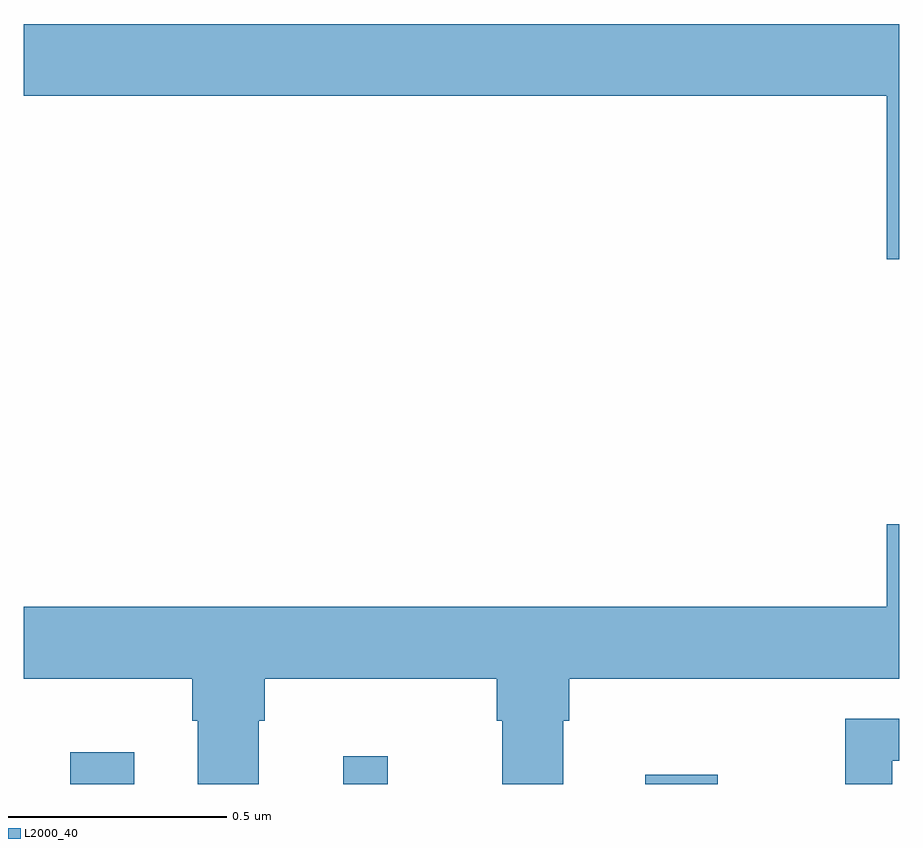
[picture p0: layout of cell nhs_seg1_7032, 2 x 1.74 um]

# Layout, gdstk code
import gdstk
lib = gdstk.Library(unit=1e-6, precision=1e-09)
def R(c, l, rs):  # rectangles x0, y0, x1, y1
    for r in rs: c.add(gdstk.rectangle(r[:2], r[2:], *l))
def P(c, l, *ps):  # polygons
    for p in ps: c.add(gdstk.Polygon(p, *l))
L2000_40 = (2000, 40)

nhs_seg1_7032 = lib.new_cell('nhs_seg1_7032')
R(nhs_seg1_7032, L2000_40, [(199.106,510.199,199.252,510.271), (199.73,510.199,199.832,510.262), (200.42,510.199,200.586,510.22)])
P(nhs_seg1_7032, L2000_40, [(201,511.936),(199,511.936),(199,511.772),(200.972,511.772),(200.972,511.398),(201,511.398)],
  [(199.537,510.344),(199.55,510.344),(199.55,510.44),(200.081,510.44),(200.081,510.344),(200.093,510.344),(200.093,510.199),(200.233,510.199),(200.233,510.344),(200.246,510.344),(200.246,510.44),(201,510.44),(201,510.793),(200.972,510.793),(200.972,510.604),(199,510.604),(199,510.44),(199.385,510.44),(199.385,510.344),(199.397,510.344),(199.397,510.199),(199.537,510.199)],
  [(200.985,510.252),(201,510.252),(201,510.348),(200.877,510.348),(200.877,510.199),(200.985,510.199)])

lib.write_gds('nhs_seg1_7032.gds')
